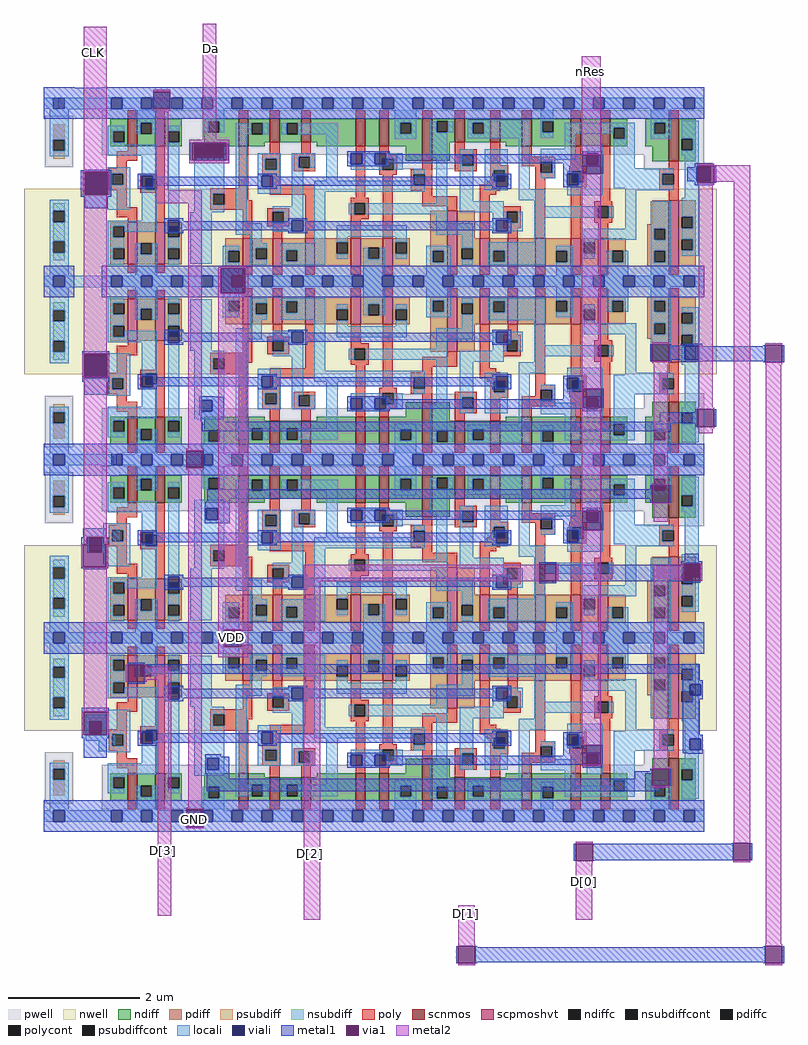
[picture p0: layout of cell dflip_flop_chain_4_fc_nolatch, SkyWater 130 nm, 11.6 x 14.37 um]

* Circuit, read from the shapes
.subckt dflip_flop_chain_4_fc_nolatch CLK nRes Da D[2] D[1] D[0] GND VDD D[3]
XM1 GND CLK n1 GND sky130_fd_pr__nfet_01v8 w=0.42 l=0.15
XM2 GND CLK n2 GND sky130_fd_pr__nfet_01v8 w=0.42 l=0.15
XM3 GND CLK n3 GND sky130_fd_pr__nfet_01v8 w=0.42 l=0.15
XM4 GND CLK n4 GND sky130_fd_pr__nfet_01v8 w=0.42 l=0.15
XM5 n5 n1 GND GND sky130_fd_pr__nfet_01v8 w=0.42 l=0.15
XM6 n6 n2 GND GND sky130_fd_pr__nfet_01v8 w=0.42 l=0.15
XM7 n7 n3 GND GND sky130_fd_pr__nfet_01v8 w=0.42 l=0.15
XM8 n8 n4 GND GND sky130_fd_pr__nfet_01v8 w=0.42 l=0.15
XM9 n9 D[2] GND GND sky130_fd_pr__nfet_01v8 w=0.42 l=0.15
XM10 n10 D[1] GND GND sky130_fd_pr__nfet_01v8 w=0.42 l=0.15
XM11 n11 D[0] GND GND sky130_fd_pr__nfet_01v8 w=0.42 l=0.15
XM12 n12 Da GND GND sky130_fd_pr__nfet_01v8 w=0.42 l=0.15
XM13 n13 n1 n9 GND sky130_fd_pr__nfet_01v8 w=0.36 l=0.15
XM14 n14 n2 n10 GND sky130_fd_pr__nfet_01v8 w=0.36 l=0.15
XM15 n15 n3 n11 GND sky130_fd_pr__nfet_01v8 w=0.36 l=0.15
XM16 n16 n4 n12 GND sky130_fd_pr__nfet_01v8 w=0.36 l=0.15
XM17 n17 n5 n13 GND sky130_fd_pr__nfet_01v8 w=0.36 l=0.15
XM18 n18 n6 n14 GND sky130_fd_pr__nfet_01v8 w=0.36 l=0.15
XM19 n19 n7 n15 GND sky130_fd_pr__nfet_01v8 w=0.36 l=0.15
XM20 n20 n8 n16 GND sky130_fd_pr__nfet_01v8 w=0.36 l=0.15
XM21 n21 n22 n17 GND sky130_fd_pr__nfet_01v8 w=0.42 l=0.15
XM22 n23 n24 n18 GND sky130_fd_pr__nfet_01v8 w=0.42 l=0.15
XM23 n25 n26 n19 GND sky130_fd_pr__nfet_01v8 w=0.42 l=0.15
XM24 n27 n28 n20 GND sky130_fd_pr__nfet_01v8 w=0.42 l=0.15
XM25 GND nRes n21 GND sky130_fd_pr__nfet_01v8 w=0.42 l=0.15
XM26 GND nRes n23 GND sky130_fd_pr__nfet_01v8 w=0.42 l=0.15
XM27 GND nRes n25 GND sky130_fd_pr__nfet_01v8 w=0.42 l=0.15
XM28 GND nRes n27 GND sky130_fd_pr__nfet_01v8 w=0.42 l=0.15
XM29 n22 n13 GND GND sky130_fd_pr__nfet_01v8 w=0.64 l=0.15
XM30 n24 n14 GND GND sky130_fd_pr__nfet_01v8 w=0.64 l=0.15
XM31 n26 n15 GND GND sky130_fd_pr__nfet_01v8 w=0.64 l=0.15
XM32 n28 n16 GND GND sky130_fd_pr__nfet_01v8 w=0.64 l=0.15
XM33 n29 n5 n22 GND sky130_fd_pr__nfet_01v8 w=0.36 l=0.15
XM34 n30 n6 n24 GND sky130_fd_pr__nfet_01v8 w=0.36 l=0.15
XM35 n31 n7 n26 GND sky130_fd_pr__nfet_01v8 w=0.36 l=0.15
XM36 n32 n8 n28 GND sky130_fd_pr__nfet_01v8 w=0.36 l=0.15
XM37 n33 n1 n29 GND sky130_fd_pr__nfet_01v8 w=0.36 l=0.15
XM38 n34 n2 n30 GND sky130_fd_pr__nfet_01v8 w=0.36 l=0.15
XM39 n35 n3 n31 GND sky130_fd_pr__nfet_01v8 w=0.36 l=0.15
XM40 n36 n4 n32 GND sky130_fd_pr__nfet_01v8 w=0.36 l=0.15
XM41 GND n37 n33 GND sky130_fd_pr__nfet_01v8 w=0.42 l=0.15
XM42 GND n38 n34 GND sky130_fd_pr__nfet_01v8 w=0.42 l=0.15
XM43 GND n39 n35 GND sky130_fd_pr__nfet_01v8 w=0.42 l=0.15
XM44 GND n40 n36 GND sky130_fd_pr__nfet_01v8 w=0.42 l=0.15
XM45 n41 nRes GND GND sky130_fd_pr__nfet_01v8 w=0.42 l=0.15
XM46 n42 nRes GND GND sky130_fd_pr__nfet_01v8 w=0.42 l=0.15
XM47 n43 nRes GND GND sky130_fd_pr__nfet_01v8 w=0.42 l=0.15
XM48 n44 nRes GND GND sky130_fd_pr__nfet_01v8 w=0.42 l=0.15
XM49 n37 n29 n41 GND sky130_fd_pr__nfet_01v8 w=0.42 l=0.15
XM50 n38 n30 n42 GND sky130_fd_pr__nfet_01v8 w=0.42 l=0.15
XM51 n39 n31 n43 GND sky130_fd_pr__nfet_01v8 w=0.42 l=0.15
XM52 n40 n32 n44 GND sky130_fd_pr__nfet_01v8 w=0.42 l=0.15
XM53 D[3] n37 GND GND sky130_fd_pr__nfet_01v8 w=0.65 l=0.15
XM54 D[2] n38 GND GND sky130_fd_pr__nfet_01v8 w=0.65 l=0.15
XM55 D[1] n39 GND GND sky130_fd_pr__nfet_01v8 w=0.65 l=0.15
XM56 D[0] n40 GND GND sky130_fd_pr__nfet_01v8 w=0.65 l=0.15
XM57 VDD CLK n1 VDD sky130_fd_pr__pfet_01v8_hvt w=0.64 l=0.15
XM58 VDD CLK n2 VDD sky130_fd_pr__pfet_01v8_hvt w=0.64 l=0.15
XM59 VDD CLK n3 VDD sky130_fd_pr__pfet_01v8_hvt w=0.64 l=0.15
XM60 VDD CLK n4 VDD sky130_fd_pr__pfet_01v8_hvt w=0.64 l=0.15
XM61 n5 n1 VDD VDD sky130_fd_pr__pfet_01v8_hvt w=0.64 l=0.15
XM62 n6 n2 VDD VDD sky130_fd_pr__pfet_01v8_hvt w=0.64 l=0.15
XM63 n7 n3 VDD VDD sky130_fd_pr__pfet_01v8_hvt w=0.64 l=0.15
XM64 n8 n4 VDD VDD sky130_fd_pr__pfet_01v8_hvt w=0.64 l=0.15
XM65 n9 D[2] VDD VDD sky130_fd_pr__pfet_01v8_hvt w=0.42 l=0.15
XM66 n10 D[1] VDD VDD sky130_fd_pr__pfet_01v8_hvt w=0.42 l=0.15
XM67 n11 D[0] VDD VDD sky130_fd_pr__pfet_01v8_hvt w=0.42 l=0.15
XM68 n12 Da VDD VDD sky130_fd_pr__pfet_01v8_hvt w=0.42 l=0.15
XM69 n13 n5 n9 VDD sky130_fd_pr__pfet_01v8_hvt w=0.42 l=0.15
XM70 n14 n6 n10 VDD sky130_fd_pr__pfet_01v8_hvt w=0.42 l=0.15
XM71 n15 n7 n11 VDD sky130_fd_pr__pfet_01v8_hvt w=0.42 l=0.15
XM72 n16 n8 n12 VDD sky130_fd_pr__pfet_01v8_hvt w=0.42 l=0.15
XM73 n45 n1 n13 VDD sky130_fd_pr__pfet_01v8_hvt w=0.42 l=0.15
XM74 n46 n2 n14 VDD sky130_fd_pr__pfet_01v8_hvt w=0.42 l=0.15
XM75 n47 n3 n15 VDD sky130_fd_pr__pfet_01v8_hvt w=0.42 l=0.15
XM76 n48 n4 n16 VDD sky130_fd_pr__pfet_01v8_hvt w=0.42 l=0.15
XM77 VDD n22 n45 VDD sky130_fd_pr__pfet_01v8_hvt w=0.42 l=0.15
XM78 VDD n24 n46 VDD sky130_fd_pr__pfet_01v8_hvt w=0.42 l=0.15
XM79 VDD n26 n47 VDD sky130_fd_pr__pfet_01v8_hvt w=0.42 l=0.15
XM80 VDD n28 n48 VDD sky130_fd_pr__pfet_01v8_hvt w=0.42 l=0.15
XM81 n45 nRes VDD VDD sky130_fd_pr__pfet_01v8_hvt w=0.42 l=0.15
XM82 n46 nRes VDD VDD sky130_fd_pr__pfet_01v8_hvt w=0.42 l=0.15
XM83 n47 nRes VDD VDD sky130_fd_pr__pfet_01v8_hvt w=0.42 l=0.15
XM84 n48 nRes VDD VDD sky130_fd_pr__pfet_01v8_hvt w=0.42 l=0.15
XM85 n22 n13 VDD VDD sky130_fd_pr__pfet_01v8_hvt w=0.84 l=0.15
XM86 n24 n14 VDD VDD sky130_fd_pr__pfet_01v8_hvt w=0.84 l=0.15
XM87 n26 n15 VDD VDD sky130_fd_pr__pfet_01v8_hvt w=0.84 l=0.15
XM88 n28 n16 VDD VDD sky130_fd_pr__pfet_01v8_hvt w=0.84 l=0.15
XM89 n29 n1 n22 VDD sky130_fd_pr__pfet_01v8_hvt w=0.42 l=0.15
XM90 n30 n2 n24 VDD sky130_fd_pr__pfet_01v8_hvt w=0.42 l=0.15
XM91 n31 n3 n26 VDD sky130_fd_pr__pfet_01v8_hvt w=0.42 l=0.15
XM92 n32 n4 n28 VDD sky130_fd_pr__pfet_01v8_hvt w=0.42 l=0.15
XM93 n49 n5 n29 VDD sky130_fd_pr__pfet_01v8_hvt w=0.42 l=0.15
XM94 n50 n6 n30 VDD sky130_fd_pr__pfet_01v8_hvt w=0.42 l=0.15
XM95 n51 n7 n31 VDD sky130_fd_pr__pfet_01v8_hvt w=0.42 l=0.15
XM96 n52 n8 n32 VDD sky130_fd_pr__pfet_01v8_hvt w=0.42 l=0.15
XM97 VDD n37 n49 VDD sky130_fd_pr__pfet_01v8_hvt w=0.42 l=0.15
XM98 VDD n38 n50 VDD sky130_fd_pr__pfet_01v8_hvt w=0.42 l=0.15
XM99 VDD n39 n51 VDD sky130_fd_pr__pfet_01v8_hvt w=0.42 l=0.15
XM100 VDD n40 n52 VDD sky130_fd_pr__pfet_01v8_hvt w=0.42 l=0.15
XM101 n37 nRes VDD VDD sky130_fd_pr__pfet_01v8_hvt w=0.42 l=0.15
XM102 n38 nRes VDD VDD sky130_fd_pr__pfet_01v8_hvt w=0.42 l=0.15
XM103 n39 nRes VDD VDD sky130_fd_pr__pfet_01v8_hvt w=0.42 l=0.15
XM104 n40 nRes VDD VDD sky130_fd_pr__pfet_01v8_hvt w=0.42 l=0.15
XM105 VDD n29 n37 VDD sky130_fd_pr__pfet_01v8_hvt w=0.42 l=0.15
XM106 VDD n30 n38 VDD sky130_fd_pr__pfet_01v8_hvt w=0.42 l=0.15
XM107 VDD n31 n39 VDD sky130_fd_pr__pfet_01v8_hvt w=0.42 l=0.15
XM108 VDD n32 n40 VDD sky130_fd_pr__pfet_01v8_hvt w=0.42 l=0.15
XM109 D[3] n37 VDD VDD sky130_fd_pr__pfet_01v8_hvt w=1 l=0.15
XM110 D[2] n38 VDD VDD sky130_fd_pr__pfet_01v8_hvt w=1 l=0.15
XM111 D[1] n39 VDD VDD sky130_fd_pr__pfet_01v8_hvt w=1 l=0.15
XM112 D[0] n40 VDD VDD sky130_fd_pr__pfet_01v8_hvt w=1 l=0.15
.ends

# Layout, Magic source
magic
tech sky130A
magscale 1 2
<< nwell >>
rect 126011 67581 126783 68147
rect 126011 66493 126786 67059
rect 126034 66492 126491 66493
<< locali >>
rect 126115 68395 126265 68424
rect 126115 68390 126260 68395
rect 128028 68170 128065 68212
rect 126266 68128 126336 68159
rect 126196 68089 126336 68128
rect 126147 67847 126277 67881
rect 126147 67846 126248 67847
rect 126265 67569 126336 67639
rect 128028 67510 128070 67625
rect 126135 67336 126250 67337
rect 126135 67331 126264 67336
rect 126135 67308 126285 67331
rect 126149 67303 126285 67308
rect 126250 67302 126285 67303
rect 126253 67086 126304 67125
rect 126204 67080 126304 67086
rect 126204 67041 126210 67080
rect 126249 67071 126304 67080
rect 126249 67041 126336 67071
rect 126204 67035 126336 67041
rect 126253 67001 126336 67035
rect 128028 67003 128070 67088
rect 126253 67000 126304 67001
rect 126159 66792 126277 66793
rect 126149 66764 126277 66792
rect 126149 66763 126256 66764
rect 126149 66759 126255 66763
rect 126279 66541 126336 66551
rect 126200 66522 126336 66541
rect 126200 66485 126210 66522
rect 126247 66485 126336 66522
rect 126200 66481 126336 66485
rect 126200 66462 126288 66481
rect 126239 66429 126288 66462
rect 126153 66244 126277 66249
rect 126135 66220 126277 66244
rect 126135 66215 126252 66220
<< viali >>
rect 126531 68240 126623 68281
rect 126196 68128 126266 68198
rect 128065 68170 128107 68212
rect 126195 67569 126265 67639
rect 128028 67625 128070 67667
rect 126552 67467 126586 67501
rect 126568 67137 126602 67171
rect 126210 67041 126249 67080
rect 128028 66961 128070 67003
rect 128043 66600 128077 66634
rect 126210 66485 126247 66522
rect 128043 66434 128077 66468
rect 126571 66374 126605 66408
<< metal1 >>
rect 126094 68391 126266 68455
rect 126400 68391 126406 68443
rect 126458 68391 126464 68443
rect 126094 68360 126292 68391
rect 126519 68234 126525 68287
rect 126629 68234 126635 68287
rect 126196 68204 126266 68205
rect 126184 68199 126278 68204
rect 126184 68128 126196 68199
rect 126266 68128 126278 68199
rect 127657 68192 127715 68250
rect 127773 68192 127779 68250
rect 128059 68217 128113 68224
rect 128059 68212 128066 68217
rect 128035 68170 128065 68212
rect 128059 68165 128066 68170
rect 128118 68165 128124 68217
rect 128059 68158 128113 68165
rect 126184 68122 126278 68128
rect 126196 68088 126266 68122
rect 126605 67828 126611 67904
rect 126687 67828 126693 67904
rect 126189 67643 126271 67651
rect 126189 67569 126195 67643
rect 126265 67569 126271 67643
rect 127923 67620 127929 67672
rect 127981 67667 127987 67672
rect 128016 67667 128082 67673
rect 127981 67625 128028 67667
rect 128070 67666 128082 67667
rect 128267 67666 128273 67669
rect 128070 67625 128273 67666
rect 127981 67620 127987 67625
rect 128016 67620 128273 67625
rect 128016 67619 128082 67620
rect 128267 67617 128273 67620
rect 128325 67617 128331 67669
rect 126189 67557 126271 67569
rect 126195 67518 126265 67557
rect 126546 67512 126592 67513
rect 126546 67501 126620 67512
rect 126546 67467 126552 67501
rect 126586 67467 126620 67501
rect 127657 67478 127716 67536
rect 127774 67478 127780 67536
rect 126546 67455 126620 67467
rect 128060 67464 128066 67473
rect 126550 67436 126620 67455
rect 127952 67436 128066 67464
rect 126555 67431 128066 67436
rect 126555 67407 127985 67431
rect 128060 67421 128066 67431
rect 128118 67421 128124 67473
rect 127952 67405 127985 67407
rect 126150 67337 126306 67368
rect 126150 67302 126294 67337
rect 126147 67271 126299 67302
rect 126501 67295 126507 67347
rect 126559 67295 126565 67347
rect 127923 67230 127929 67241
rect 126570 67201 127929 67230
rect 126570 67192 126639 67201
rect 126564 67183 126639 67192
rect 127923 67189 127929 67201
rect 127981 67189 127987 67241
rect 126562 67171 126639 67183
rect 126562 67137 126568 67171
rect 126602 67137 126639 67171
rect 126562 67125 126639 67137
rect 126192 67083 126262 67111
rect 127657 67104 127715 67162
rect 127773 67104 127779 67162
rect 126186 67062 126203 67083
rect 126186 66992 126192 67062
rect 126255 67062 126268 67083
rect 126262 66992 126268 67062
rect 128028 67009 128070 67033
rect 126186 66989 126268 66992
rect 127584 67000 127636 67006
rect 126192 66986 126262 66989
rect 128016 67003 128082 67009
rect 128016 67002 128028 67003
rect 128070 67002 128082 67003
rect 128016 66999 128023 67002
rect 127636 66950 128023 66999
rect 128075 66955 128082 67002
rect 128075 66950 128078 66955
rect 127636 66949 128078 66950
rect 127584 66942 127636 66948
rect 128023 66944 128075 66949
rect 126147 66794 126266 66823
rect 126147 66792 126267 66794
rect 126163 66759 126267 66792
rect 126163 66728 126279 66759
rect 126617 66748 126623 66800
rect 126675 66748 126681 66800
rect 126327 66695 126379 66700
rect 126327 66694 128074 66695
rect 126379 66666 128074 66694
rect 126327 66636 126379 66642
rect 128022 66646 128074 66666
rect 128022 66634 128083 66646
rect 128022 66600 128043 66634
rect 128077 66600 128083 66634
rect 128022 66588 128083 66600
rect 126187 66550 126269 66563
rect 126187 66480 126193 66550
rect 126263 66480 126269 66550
rect 126187 66469 126269 66480
rect 128022 66480 128074 66588
rect 126193 66410 126263 66469
rect 128022 66468 128083 66480
rect 126565 66413 126611 66420
rect 126565 66408 126638 66413
rect 126565 66374 126571 66408
rect 126605 66374 126638 66408
rect 127657 66390 127713 66448
rect 127771 66390 127777 66448
rect 128022 66434 128043 66468
rect 128077 66434 128083 66468
rect 128022 66423 128083 66434
rect 128037 66422 128083 66423
rect 126565 66362 126638 66374
rect 127923 66369 127929 66376
rect 126569 66346 126638 66362
rect 127875 66346 127929 66369
rect 126569 66324 127929 66346
rect 127981 66324 127987 66376
rect 126569 66308 127953 66324
rect 126163 66279 126308 66280
rect 126144 66249 126308 66279
rect 126144 66248 126273 66249
rect 126164 66215 126270 66248
rect 126164 66184 126279 66215
rect 126501 66200 126507 66252
rect 126559 66200 126565 66252
rect 128170 66148 128176 66149
rect 127689 66096 127695 66148
rect 127747 66097 128176 66148
rect 128228 66097 128234 66149
rect 127747 66096 127753 66097
rect 127330 65783 127336 65835
rect 127388 65832 127394 65835
rect 128267 65832 128273 65835
rect 127388 65786 128273 65832
rect 127388 65783 127394 65786
rect 128267 65783 128273 65786
rect 128325 65783 128331 65835
<< via1 >>
rect 126406 68391 126458 68443
rect 126525 68281 126629 68287
rect 126525 68240 126531 68281
rect 126531 68240 126623 68281
rect 126623 68240 126629 68281
rect 126525 68234 126629 68240
rect 126196 68198 126266 68199
rect 126196 68129 126266 68198
rect 127715 68192 127773 68250
rect 128066 68212 128118 68217
rect 128066 68170 128107 68212
rect 128107 68170 128118 68212
rect 128066 68165 128118 68170
rect 126611 67828 126687 67904
rect 126195 67639 126265 67643
rect 126195 67573 126265 67639
rect 127929 67620 127981 67672
rect 128273 67617 128325 67669
rect 127716 67478 127774 67536
rect 128066 67421 128118 67473
rect 126507 67295 126559 67347
rect 127929 67189 127981 67241
rect 127715 67104 127773 67162
rect 126203 67080 126255 67083
rect 126203 67062 126210 67080
rect 126192 67041 126210 67062
rect 126210 67041 126249 67080
rect 126249 67062 126255 67080
rect 126249 67041 126262 67062
rect 126192 66992 126262 67041
rect 127584 66948 127636 67000
rect 128023 66961 128028 67002
rect 128028 66961 128070 67002
rect 128070 66961 128075 67002
rect 128023 66950 128075 66961
rect 126623 66748 126675 66800
rect 126327 66642 126379 66694
rect 126193 66522 126263 66550
rect 126193 66485 126210 66522
rect 126210 66485 126247 66522
rect 126247 66485 126263 66522
rect 126193 66480 126263 66485
rect 127713 66390 127771 66448
rect 127929 66324 127981 66376
rect 126507 66200 126559 66252
rect 127695 66096 127747 66148
rect 128176 66097 128228 66149
rect 127336 65783 127388 65835
rect 128273 65783 128325 65835
<< metal2 >>
rect 126193 68199 126263 68641
rect 126406 68443 126458 68449
rect 126406 68385 126458 68391
rect 126190 68129 126196 68199
rect 126266 68129 126272 68199
rect 126412 68143 126452 68385
rect 126557 68296 126598 68650
rect 126516 68287 126638 68296
rect 126516 68234 126525 68287
rect 126629 68234 126638 68287
rect 126516 68224 126638 68234
rect 127713 68256 127771 68552
rect 127713 68250 127773 68256
rect 127713 68192 127715 68250
rect 127713 68186 127773 68192
rect 128066 68219 128118 68223
rect 128066 68217 128228 68219
rect 126193 67643 126263 68129
rect 126412 68103 126553 68143
rect 126189 67573 126195 67643
rect 126265 67573 126271 67643
rect 126193 67083 126263 67573
rect 126513 67353 126553 68103
rect 126611 67907 126687 67910
rect 126604 67904 126695 67907
rect 126604 67828 126611 67904
rect 126687 67828 126695 67904
rect 126507 67347 126559 67353
rect 126507 67289 126559 67295
rect 126193 67062 126203 67083
rect 126255 67062 126263 67083
rect 126186 66992 126192 67062
rect 126262 66992 126268 67062
rect 126193 66550 126263 66992
rect 126321 66642 126327 66694
rect 126379 66688 126385 66694
rect 126379 66648 126460 66688
rect 126379 66642 126385 66648
rect 126187 66480 126193 66550
rect 126263 66480 126269 66550
rect 126420 65928 126460 66648
rect 126513 66258 126553 67289
rect 126604 66800 126695 67828
rect 127713 67542 127771 68186
rect 128118 68168 128228 68217
rect 128066 68159 128118 68165
rect 127929 67672 127981 67678
rect 127929 67614 127981 67620
rect 127713 67536 127774 67542
rect 127713 67478 127716 67536
rect 127713 67472 127774 67478
rect 127713 67168 127771 67472
rect 127934 67247 127976 67614
rect 128071 67479 128113 68159
rect 128066 67473 128118 67479
rect 128066 67415 128118 67421
rect 128071 67400 128113 67415
rect 127929 67241 127981 67247
rect 127929 67183 127981 67189
rect 127713 67162 127773 67168
rect 127713 67104 127715 67162
rect 127934 67131 127976 67183
rect 127713 67098 127773 67104
rect 127578 66999 127584 67000
rect 126604 66748 126623 66800
rect 126675 66748 126695 66800
rect 126604 66717 126695 66748
rect 126865 66949 127584 66999
rect 126507 66252 126559 66258
rect 126507 66194 126559 66200
rect 126865 65916 126915 66949
rect 127578 66948 127584 66949
rect 127636 66948 127642 67000
rect 127713 66448 127771 67098
rect 128017 66997 128023 67002
rect 127713 66384 127771 66390
rect 127934 66955 128023 66997
rect 127934 66382 127976 66955
rect 128017 66950 128023 66955
rect 128075 66950 128081 67002
rect 127929 66376 127981 66382
rect 127929 66318 127981 66324
rect 128177 66155 128228 68168
rect 128273 67669 128325 67675
rect 128273 67611 128325 67617
rect 127695 66148 127747 66154
rect 127695 66090 127747 66096
rect 128176 66149 128228 66155
rect 128176 66091 128228 66097
rect 127337 65841 127387 65959
rect 127696 65916 127746 66090
rect 128276 65841 128322 67611
rect 127336 65835 127388 65841
rect 127336 65777 127388 65783
rect 128273 65835 128325 65841
rect 128273 65777 128325 65783
use sky130_fd_sc_hd__dfrtp_1  sky130_fd_sc_hd__dfrtp_1_0 $PDKPATH/libs.ref/sky130_fd_sc_hd/mag
transform 1 0 126248 0 -1 68408
box -38 -48 1878 592
use sky130_fd_sc_hd__dfrtp_1  sky130_fd_sc_hd__dfrtp_1_1
transform 1 0 126248 0 1 67320
box -38 -48 1878 592
use sky130_fd_sc_hd__dfrtp_1  sky130_fd_sc_hd__dfrtp_1_2
transform 1 0 126248 0 1 66232
box -38 -48 1878 592
use sky130_fd_sc_hd__dfrtp_1  sky130_fd_sc_hd__dfrtp_1_3
transform 1 0 126248 0 -1 67320
box -38 -48 1878 592
use sky130_fd_sc_hd__tapvpwrvgnd_1  sky130_fd_sc_hd__tapvpwrvgnd_1_0 $PDKPATH/libs.ref/sky130_fd_sc_hd/mag
transform 1 0 126072 0 1 67320
box -38 -48 130 592
use sky130_fd_sc_hd__tapvpwrvgnd_1  sky130_fd_sc_hd__tapvpwrvgnd_1_1
transform 1 0 126072 0 -1 68408
box -38 -48 130 592
use sky130_fd_sc_hd__tapvpwrvgnd_1  sky130_fd_sc_hd__tapvpwrvgnd_1_2
transform 1 0 126072 0 1 66232
box -38 -48 130 592
use sky130_fd_sc_hd__tapvpwrvgnd_1  sky130_fd_sc_hd__tapvpwrvgnd_1_3
transform 1 0 126072 0 -1 67320
box -38 -48 130 592
<< labels >>
flabel metal2 126217 68550 126230 68574 1 FreeSans 320 0 0 0 CLK
port 1 n
flabel metal2 127737 68501 127741 68510 1 FreeSans 320 0 0 0 nRes
port 2 n
flabel metal2 126571 68567 126591 68586 1 FreeSans 320 0 0 0 Da
port 3 n
flabel metal2 126878 66101 126893 66135 1 FreeSans 320 0 0 0 D[2]
port 5 n
flabel metal2 127353 65916 127368 65950 1 FreeSans 320 0 0 0 D[1]
port 6 n
flabel metal2 127715 66014 127730 66048 1 FreeSans 320 0 0 0 D[0]
port 7 n
flabel via1 126522 66216 126538 66226 1 FreeSans 320 0 0 0 GND
port 8 n
flabel via1 126635 66772 126651 66782 1 FreeSans 320 0 0 0 VDD
port 9 n
flabel metal2 126427 66114 126444 66141 1 FreeSans 320 0 0 0 D[3]
port 10 n
<< end >>

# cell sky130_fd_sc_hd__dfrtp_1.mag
magic
tech sky130A
magscale 1 2
<< nwell >>
rect -38 261 1878 582
<< pwell >>
rect 903 157 1089 201
rect 1655 157 1839 203
rect 1 21 1839 157
rect 29 -17 63 21
<< scnmos >>
rect 79 47 109 131
rect 163 47 193 131
rect 418 47 448 131
rect 513 47 543 119
rect 609 47 639 119
rect 775 47 805 131
rect 847 47 877 131
rect 979 47 1009 175
rect 1078 47 1108 119
rect 1187 47 1217 119
rect 1283 47 1313 131
rect 1432 47 1462 131
rect 1523 47 1553 131
rect 1731 47 1761 177
<< scpmoshvt >>
rect 79 363 109 491
rect 163 363 193 491
rect 430 413 460 497
rect 522 413 552 497
rect 621 413 651 497
rect 761 413 791 497
rect 858 413 888 497
rect 1055 329 1085 497
rect 1154 413 1184 497
rect 1240 413 1270 497
rect 1324 413 1354 497
rect 1432 413 1462 497
rect 1516 413 1546 497
rect 1731 297 1761 497
<< ndiff >>
rect 27 119 79 131
rect 27 85 35 119
rect 69 85 79 119
rect 27 47 79 85
rect 109 93 163 131
rect 109 59 119 93
rect 153 59 163 93
rect 109 47 163 59
rect 193 119 245 131
rect 193 85 203 119
rect 237 85 245 119
rect 193 47 245 85
rect 313 89 418 131
rect 313 55 325 89
rect 359 55 418 89
rect 313 47 418 55
rect 448 119 498 131
rect 929 131 979 175
rect 657 119 775 131
rect 448 95 513 119
rect 448 61 458 95
rect 492 61 513 95
rect 448 47 513 61
rect 543 95 609 119
rect 543 61 565 95
rect 599 61 609 95
rect 543 47 609 61
rect 639 47 775 119
rect 805 47 847 131
rect 877 93 979 131
rect 877 59 911 93
rect 945 59 979 93
rect 877 47 979 59
rect 1009 119 1063 175
rect 1681 131 1731 177
rect 1233 119 1283 131
rect 1009 89 1078 119
rect 1009 55 1023 89
rect 1057 55 1078 89
rect 1009 47 1078 55
rect 1108 93 1187 119
rect 1108 59 1133 93
rect 1167 59 1187 93
rect 1108 47 1187 59
rect 1217 47 1283 119
rect 1313 89 1432 131
rect 1313 55 1345 89
rect 1379 55 1432 89
rect 1313 47 1432 55
rect 1462 47 1523 131
rect 1553 109 1605 131
rect 1553 75 1563 109
rect 1597 75 1605 109
rect 1553 47 1605 75
rect 1659 93 1731 131
rect 1659 59 1687 93
rect 1721 59 1731 93
rect 1659 47 1731 59
rect 1761 143 1813 177
rect 1761 109 1771 143
rect 1805 109 1813 143
rect 1761 47 1813 109
<< pdiff >>
rect 27 477 79 491
rect 27 443 35 477
rect 69 443 79 477
rect 27 409 79 443
rect 27 375 35 409
rect 69 375 79 409
rect 27 363 79 375
rect 109 461 163 491
rect 109 427 119 461
rect 153 427 163 461
rect 109 363 163 427
rect 193 477 245 491
rect 193 443 203 477
rect 237 443 245 477
rect 193 409 245 443
rect 378 485 430 497
rect 378 451 386 485
rect 420 451 430 485
rect 378 413 430 451
rect 460 477 522 497
rect 460 443 470 477
rect 504 443 522 477
rect 460 413 522 443
rect 552 483 621 497
rect 552 449 563 483
rect 597 449 621 483
rect 552 413 621 449
rect 651 459 761 497
rect 651 425 717 459
rect 751 425 761 459
rect 651 413 761 425
rect 791 475 858 497
rect 791 441 814 475
rect 848 441 858 475
rect 791 413 858 441
rect 888 459 940 497
rect 888 425 898 459
rect 932 425 940 459
rect 888 413 940 425
rect 1003 485 1055 497
rect 1003 451 1011 485
rect 1045 451 1055 485
rect 193 375 203 409
rect 237 375 245 409
rect 193 363 245 375
rect 1003 329 1055 451
rect 1085 477 1154 497
rect 1085 443 1099 477
rect 1133 443 1154 477
rect 1085 413 1154 443
rect 1184 484 1240 497
rect 1184 450 1196 484
rect 1230 450 1240 484
rect 1184 413 1240 450
rect 1270 413 1324 497
rect 1354 485 1432 497
rect 1354 451 1388 485
rect 1422 451 1432 485
rect 1354 413 1432 451
rect 1462 459 1516 497
rect 1462 425 1472 459
rect 1506 425 1516 459
rect 1462 413 1516 425
rect 1546 485 1600 497
rect 1546 451 1558 485
rect 1592 451 1600 485
rect 1546 413 1600 451
rect 1665 485 1731 497
rect 1665 451 1687 485
rect 1721 451 1731 485
rect 1665 417 1731 451
rect 1085 329 1139 413
rect 1665 383 1687 417
rect 1721 383 1731 417
rect 1665 369 1731 383
rect 1681 297 1731 369
rect 1761 449 1813 497
rect 1761 415 1771 449
rect 1805 415 1813 449
rect 1761 381 1813 415
rect 1761 347 1771 381
rect 1805 347 1813 381
rect 1761 297 1813 347
<< ndiffc >>
rect 35 85 69 119
rect 119 59 153 93
rect 203 85 237 119
rect 325 55 359 89
rect 458 61 492 95
rect 565 61 599 95
rect 911 59 945 93
rect 1023 55 1057 89
rect 1133 59 1167 93
rect 1345 55 1379 89
rect 1563 75 1597 109
rect 1687 59 1721 93
rect 1771 109 1805 143
<< pdiffc >>
rect 35 443 69 477
rect 35 375 69 409
rect 119 427 153 461
rect 203 443 237 477
rect 386 451 420 485
rect 470 443 504 477
rect 563 449 597 483
rect 717 425 751 459
rect 814 441 848 475
rect 898 425 932 459
rect 1011 451 1045 485
rect 203 375 237 409
rect 1099 443 1133 477
rect 1196 450 1230 484
rect 1388 451 1422 485
rect 1472 425 1506 459
rect 1558 451 1592 485
rect 1687 451 1721 485
rect 1687 383 1721 417
rect 1771 415 1805 449
rect 1771 347 1805 381
<< poly >>
rect 79 491 109 517
rect 163 491 193 517
rect 430 497 460 523
rect 522 497 552 523
rect 621 497 651 523
rect 761 497 791 523
rect 858 497 888 523
rect 1055 497 1085 523
rect 1154 497 1184 523
rect 1240 497 1270 523
rect 1324 497 1354 523
rect 1432 497 1462 523
rect 1516 497 1546 523
rect 1731 497 1761 523
rect 79 348 109 363
rect 46 318 109 348
rect 46 265 76 318
rect 163 274 193 363
rect 430 326 460 413
rect 522 375 552 413
rect 22 249 76 265
rect 22 215 32 249
rect 66 215 76 249
rect 118 264 193 274
rect 118 230 134 264
rect 168 230 193 264
rect 331 310 460 326
rect 506 365 572 375
rect 506 331 522 365
rect 556 331 572 365
rect 506 321 572 331
rect 331 276 341 310
rect 375 296 460 310
rect 375 276 448 296
rect 621 279 651 413
rect 761 355 791 413
rect 761 339 816 355
rect 761 305 771 339
rect 805 305 816 339
rect 761 289 816 305
rect 331 260 448 276
rect 118 220 193 230
rect 22 199 76 215
rect 46 176 76 199
rect 46 146 109 176
rect 79 131 109 146
rect 163 131 193 220
rect 418 131 448 260
rect 513 249 651 279
rect 513 219 544 249
rect 490 203 544 219
rect 490 169 500 203
rect 534 169 544 203
rect 490 153 544 169
rect 586 197 652 207
rect 586 163 602 197
rect 636 163 652 197
rect 586 153 652 163
rect 513 119 543 153
rect 609 119 639 153
rect 775 131 805 289
rect 858 219 888 413
rect 1055 314 1085 329
rect 979 284 1085 314
rect 979 267 1009 284
rect 943 251 1009 267
rect 847 203 901 219
rect 847 169 857 203
rect 891 169 901 203
rect 943 217 953 251
rect 987 217 1009 251
rect 1154 279 1184 413
rect 1240 381 1270 413
rect 1226 365 1280 381
rect 1226 331 1236 365
rect 1270 331 1280 365
rect 1226 315 1280 331
rect 1154 267 1204 279
rect 1154 255 1217 267
rect 1154 249 1241 255
rect 1175 239 1241 249
rect 1175 237 1197 239
rect 943 201 1009 217
rect 979 175 1009 201
rect 1078 191 1145 207
rect 847 153 901 169
rect 847 131 877 153
rect 1078 157 1101 191
rect 1135 157 1145 191
rect 1078 141 1145 157
rect 1187 205 1197 237
rect 1231 205 1241 239
rect 1187 189 1241 205
rect 1324 229 1354 413
rect 1432 257 1462 413
rect 1516 365 1546 413
rect 1504 349 1558 365
rect 1504 315 1514 349
rect 1548 315 1558 349
rect 1504 299 1558 315
rect 1427 241 1481 257
rect 1324 213 1385 229
rect 1324 193 1341 213
rect 1078 119 1108 141
rect 1187 119 1217 189
rect 1283 179 1341 193
rect 1375 179 1385 213
rect 1427 207 1437 241
rect 1471 207 1481 241
rect 1427 191 1481 207
rect 1283 163 1385 179
rect 1283 131 1313 163
rect 1432 131 1462 191
rect 1523 131 1553 299
rect 1731 265 1761 297
rect 1702 249 1761 265
rect 1702 215 1712 249
rect 1746 215 1761 249
rect 1702 199 1761 215
rect 1731 177 1761 199
rect 79 21 109 47
rect 163 21 193 47
rect 418 21 448 47
rect 513 21 543 47
rect 609 21 639 47
rect 775 21 805 47
rect 847 21 877 47
rect 979 21 1009 47
rect 1078 21 1108 47
rect 1187 21 1217 47
rect 1283 21 1313 47
rect 1432 21 1462 47
rect 1523 21 1553 47
rect 1731 21 1761 47
<< polycont >>
rect 32 215 66 249
rect 134 230 168 264
rect 522 331 556 365
rect 341 276 375 310
rect 771 305 805 339
rect 500 169 534 203
rect 602 163 636 197
rect 857 169 891 203
rect 953 217 987 251
rect 1236 331 1270 365
rect 1101 157 1135 191
rect 1197 205 1231 239
rect 1514 315 1548 349
rect 1341 179 1375 213
rect 1437 207 1471 241
rect 1712 215 1746 249
<< locali >>
rect 0 527 29 561
rect 63 527 121 561
rect 155 527 213 561
rect 247 527 305 561
rect 339 527 397 561
rect 431 527 489 561
rect 523 527 581 561
rect 615 527 673 561
rect 707 527 765 561
rect 799 527 857 561
rect 891 527 949 561
rect 983 527 1041 561
rect 1075 527 1133 561
rect 1167 527 1225 561
rect 1259 527 1317 561
rect 1351 527 1409 561
rect 1443 527 1501 561
rect 1535 527 1593 561
rect 1627 527 1685 561
rect 1719 527 1777 561
rect 1811 527 1840 561
rect 18 477 69 493
rect 18 443 35 477
rect 18 409 69 443
rect 103 461 169 527
rect 103 427 119 461
rect 153 427 169 461
rect 203 477 237 493
rect 18 375 35 409
rect 203 409 237 443
rect 69 375 168 393
rect 18 359 168 375
rect 18 249 88 325
rect 18 215 32 249
rect 66 215 88 249
rect 18 195 88 215
rect 122 264 168 359
rect 122 255 134 264
rect 156 221 168 230
rect 122 161 168 221
rect 18 127 168 161
rect 18 119 69 127
rect 18 85 35 119
rect 203 119 237 357
rect 271 333 336 490
rect 370 485 420 527
rect 370 451 386 485
rect 370 435 420 451
rect 454 477 504 493
rect 454 443 470 477
rect 454 427 504 443
rect 547 483 683 493
rect 547 449 563 483
rect 597 449 683 483
rect 798 475 864 527
rect 991 485 1065 527
rect 547 427 683 449
rect 454 401 488 427
rect 409 367 488 401
rect 522 391 615 393
rect 283 310 375 333
rect 283 276 341 310
rect 283 123 375 276
rect 18 69 69 85
rect 103 59 119 93
rect 153 59 169 93
rect 409 95 443 367
rect 522 365 581 391
rect 556 357 581 365
rect 556 331 615 357
rect 522 315 615 331
rect 477 255 547 277
rect 477 221 489 255
rect 523 221 547 255
rect 477 203 547 221
rect 477 169 500 203
rect 534 169 547 203
rect 477 153 547 169
rect 581 197 615 315
rect 649 271 683 427
rect 717 459 751 475
rect 798 441 814 475
rect 848 441 864 475
rect 898 459 932 475
rect 717 407 751 425
rect 991 451 1011 485
rect 1045 451 1065 485
rect 991 435 1065 451
rect 1099 477 1133 493
rect 898 407 932 425
rect 717 373 932 407
rect 1099 401 1133 443
rect 1180 484 1354 493
rect 1180 450 1196 484
rect 1230 450 1354 484
rect 1180 425 1354 450
rect 1388 485 1438 527
rect 1422 451 1438 485
rect 1542 485 1608 527
rect 1388 435 1438 451
rect 1472 459 1506 475
rect 1021 367 1133 401
rect 1021 339 1055 367
rect 755 305 771 339
rect 805 305 1055 339
rect 1194 357 1205 391
rect 1239 365 1286 391
rect 1194 333 1236 357
rect 649 251 987 271
rect 649 237 953 251
rect 581 163 602 197
rect 636 163 652 197
rect 581 153 652 163
rect 686 95 720 237
rect 761 187 857 203
rect 795 153 833 187
rect 891 169 919 203
rect 953 201 987 217
rect 867 153 919 169
rect 1021 167 1055 305
rect 203 69 237 85
rect 103 17 169 59
rect 309 55 325 89
rect 359 55 375 89
rect 409 61 458 95
rect 492 61 508 95
rect 549 61 565 95
rect 599 61 720 95
rect 895 93 961 109
rect 309 17 375 55
rect 895 59 911 93
rect 945 59 961 93
rect 895 17 961 59
rect 1003 89 1055 167
rect 1093 331 1236 333
rect 1270 331 1286 365
rect 1320 349 1354 425
rect 1542 451 1558 485
rect 1592 451 1608 485
rect 1676 485 1737 527
rect 1676 451 1687 485
rect 1721 451 1737 485
rect 1472 417 1506 425
rect 1676 417 1737 451
rect 1472 383 1632 417
rect 1093 299 1228 331
rect 1320 315 1514 349
rect 1548 315 1564 349
rect 1093 191 1135 299
rect 1320 297 1354 315
rect 1093 157 1101 191
rect 1093 141 1135 157
rect 1169 255 1239 265
rect 1169 239 1205 255
rect 1169 205 1197 239
rect 1231 205 1239 221
rect 1169 141 1239 205
rect 1273 263 1354 297
rect 1273 107 1307 263
rect 1421 250 1529 281
rect 1598 265 1632 383
rect 1676 383 1687 417
rect 1721 383 1737 417
rect 1676 299 1737 383
rect 1771 449 1822 465
rect 1805 415 1822 449
rect 1771 381 1822 415
rect 1805 347 1822 381
rect 1771 289 1822 347
rect 1598 259 1746 265
rect 1455 241 1529 250
rect 1341 213 1385 229
rect 1375 179 1385 213
rect 1421 207 1437 216
rect 1471 207 1529 241
rect 1341 173 1385 179
rect 1481 187 1529 207
rect 1341 139 1447 173
rect 1117 93 1307 107
rect 1003 55 1023 89
rect 1057 55 1073 89
rect 1117 59 1133 93
rect 1167 59 1307 93
rect 1117 51 1307 59
rect 1341 89 1379 105
rect 1341 55 1345 89
rect 1413 93 1447 139
rect 1515 153 1529 187
rect 1481 127 1529 153
rect 1563 249 1746 259
rect 1563 215 1712 249
rect 1563 199 1746 215
rect 1563 164 1628 199
rect 1563 109 1627 164
rect 1780 159 1822 289
rect 1771 143 1822 159
rect 1805 109 1822 143
rect 1413 75 1563 93
rect 1597 75 1627 109
rect 1413 59 1627 75
rect 1676 93 1737 109
rect 1676 59 1687 93
rect 1721 59 1737 93
rect 1341 17 1379 55
rect 1676 17 1737 59
rect 1771 53 1822 109
rect 0 -17 29 17
rect 63 -17 121 17
rect 155 -17 213 17
rect 247 -17 305 17
rect 339 -17 397 17
rect 431 -17 489 17
rect 523 -17 581 17
rect 615 -17 673 17
rect 707 -17 765 17
rect 799 -17 857 17
rect 891 -17 949 17
rect 983 -17 1041 17
rect 1075 -17 1133 17
rect 1167 -17 1225 17
rect 1259 -17 1317 17
rect 1351 -17 1409 17
rect 1443 -17 1501 17
rect 1535 -17 1593 17
rect 1627 -17 1685 17
rect 1719 -17 1777 17
rect 1811 -17 1840 17
<< viali >>
rect 29 527 63 561
rect 121 527 155 561
rect 213 527 247 561
rect 305 527 339 561
rect 397 527 431 561
rect 489 527 523 561
rect 581 527 615 561
rect 673 527 707 561
rect 765 527 799 561
rect 857 527 891 561
rect 949 527 983 561
rect 1041 527 1075 561
rect 1133 527 1167 561
rect 1225 527 1259 561
rect 1317 527 1351 561
rect 1409 527 1443 561
rect 1501 527 1535 561
rect 1593 527 1627 561
rect 1685 527 1719 561
rect 1777 527 1811 561
rect 122 230 134 255
rect 134 230 156 255
rect 122 221 156 230
rect 203 375 237 391
rect 203 357 237 375
rect 581 357 615 391
rect 489 221 523 255
rect 1205 365 1239 391
rect 1205 357 1236 365
rect 1236 357 1239 365
rect 761 153 795 187
rect 833 169 857 187
rect 857 169 867 187
rect 833 153 867 169
rect 1205 239 1239 255
rect 1205 221 1231 239
rect 1231 221 1239 239
rect 1421 241 1455 250
rect 1421 216 1437 241
rect 1437 216 1455 241
rect 1481 153 1515 187
rect 29 -17 63 17
rect 121 -17 155 17
rect 213 -17 247 17
rect 305 -17 339 17
rect 397 -17 431 17
rect 489 -17 523 17
rect 581 -17 615 17
rect 673 -17 707 17
rect 765 -17 799 17
rect 857 -17 891 17
rect 949 -17 983 17
rect 1041 -17 1075 17
rect 1133 -17 1167 17
rect 1225 -17 1259 17
rect 1317 -17 1351 17
rect 1409 -17 1443 17
rect 1501 -17 1535 17
rect 1593 -17 1627 17
rect 1685 -17 1719 17
rect 1777 -17 1811 17
<< metal1 >>
rect 0 561 1840 592
rect 0 527 29 561
rect 63 527 121 561
rect 155 527 213 561
rect 247 527 305 561
rect 339 527 397 561
rect 431 527 489 561
rect 523 527 581 561
rect 615 527 673 561
rect 707 527 765 561
rect 799 527 857 561
rect 891 527 949 561
rect 983 527 1041 561
rect 1075 527 1133 561
rect 1167 527 1225 561
rect 1259 527 1317 561
rect 1351 527 1409 561
rect 1443 527 1501 561
rect 1535 527 1593 561
rect 1627 527 1685 561
rect 1719 527 1777 561
rect 1811 527 1840 561
rect 0 496 1840 527
rect 191 391 249 397
rect 191 357 203 391
rect 237 388 249 391
rect 569 391 627 397
rect 569 388 581 391
rect 237 360 581 388
rect 237 357 249 360
rect 191 351 249 357
rect 569 357 581 360
rect 615 388 627 391
rect 1193 391 1251 397
rect 1193 388 1205 391
rect 615 360 1205 388
rect 615 357 627 360
rect 569 351 627 357
rect 1193 357 1205 360
rect 1239 357 1251 391
rect 1193 351 1251 357
rect 110 255 168 261
rect 110 221 122 255
rect 156 252 168 255
rect 477 255 535 261
rect 477 252 489 255
rect 156 224 489 252
rect 156 221 168 224
rect 110 215 168 221
rect 477 221 489 224
rect 523 252 535 255
rect 1193 255 1251 261
rect 1193 252 1205 255
rect 523 224 1205 252
rect 523 221 535 224
rect 477 215 535 221
rect 1193 221 1205 224
rect 1239 221 1251 255
rect 1193 215 1251 221
rect 1409 250 1467 256
rect 1409 216 1421 250
rect 1455 216 1467 250
rect 1409 193 1467 216
rect 749 187 879 193
rect 749 153 761 187
rect 795 153 833 187
rect 867 184 879 187
rect 1409 187 1527 193
rect 1409 184 1481 187
rect 867 156 1481 184
rect 867 153 879 156
rect 749 147 879 153
rect 1469 153 1481 156
rect 1515 153 1527 187
rect 1469 147 1527 153
rect 0 17 1840 48
rect 0 -17 29 17
rect 63 -17 121 17
rect 155 -17 213 17
rect 247 -17 305 17
rect 339 -17 397 17
rect 431 -17 489 17
rect 523 -17 581 17
rect 615 -17 673 17
rect 707 -17 765 17
rect 799 -17 857 17
rect 891 -17 949 17
rect 983 -17 1041 17
rect 1075 -17 1133 17
rect 1167 -17 1225 17
rect 1259 -17 1317 17
rect 1351 -17 1409 17
rect 1443 -17 1501 17
rect 1535 -17 1593 17
rect 1627 -17 1685 17
rect 1719 -17 1777 17
rect 1811 -17 1840 17
rect 0 -48 1840 -17
<< labels >>
flabel locali s 1776 425 1810 459 0 FreeSans 400 0 0 0 Q
port 9 nsew
flabel locali s 1776 357 1810 391 0 FreeSans 400 0 0 0 Q
port 9 nsew
flabel locali s 1776 289 1810 323 0 FreeSans 400 0 0 0 Q
port 9 nsew
flabel locali s 1776 85 1810 119 0 FreeSans 400 0 0 0 Q
port 9 nsew
flabel locali s 1481 153 1515 187 0 FreeSans 400 0 0 0 RESET_B
port 8 nsew
flabel locali s 305 289 339 323 0 FreeSans 400 0 0 0 D
port 7 nsew
flabel locali s 30 289 64 323 0 FreeSans 400 0 0 0 CLK
port 6 nsew
flabel locali s 30 221 64 255 0 FreeSans 400 0 0 0 CLK
port 6 nsew
flabel locali s 1481 221 1515 255 0 FreeSans 400 0 0 0 RESET_B
port 8 nsew
flabel metal1 s 29 -17 63 17 0 FreeSans 200 0 0 0 VGND
port 2 nsew
flabel metal1 s 29 527 63 561 0 FreeSans 200 0 0 0 VPWR
port 3 nsew
flabel nwell s 29 527 63 561 0 FreeSans 200 0 0 0 VPB
port 4 nsew
flabel pwell s 29 -17 63 17 0 FreeSans 200 0 0 0 VNB
port 5 nsew
rlabel comment s 0 0 0 0 4 dfrtp_1
<< properties >>
string FIXED_BBOX 0 0 1840 544
string path 0.000 13.600 46.000 13.600 
<< end >>

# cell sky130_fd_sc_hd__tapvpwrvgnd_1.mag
magic
tech sky130A
magscale 1 2
<< nwell >>
rect -38 261 130 582
<< pwell >>
rect 3 38 89 195
<< psubdiff >>
rect 29 145 63 169
rect 29 64 63 111
<< nsubdiff >>
rect 29 456 63 480
rect 29 363 63 422
rect 29 305 63 329
<< psubdiffcont >>
rect 29 111 63 145
<< nsubdiffcont >>
rect 29 422 63 456
rect 29 329 63 363
<< locali >>
rect 0 527 29 561
rect 63 527 92 561
rect 17 456 75 527
rect 17 422 29 456
rect 63 422 75 456
rect 17 363 75 422
rect 17 329 29 363
rect 63 329 75 363
rect 17 294 75 329
rect 17 145 75 162
rect 17 111 29 145
rect 63 111 75 145
rect 17 17 75 111
rect 0 -17 29 17
rect 63 -17 92 17
<< viali >>
rect 29 527 63 561
rect 29 -17 63 17
<< metal1 >>
rect 0 561 92 592
rect 0 527 29 561
rect 63 527 92 561
rect 0 496 92 527
rect 0 17 92 48
rect 0 -17 29 17
rect 63 -17 92 17
rect 0 -48 92 -17
<< labels >>
flabel metal1 s 22 524 75 553 0 FreeSans 200 0 0 0 VPWR
port 2 nsew
flabel metal1 s 21 -18 72 20 0 FreeSans 200 0 0 0 VGND
port 3 nsew
rlabel comment s 0 0 0 0 4 tapvpwrvgnd_1
<< properties >>
string FIXED_BBOX 0 0 92 544
<< end >>
